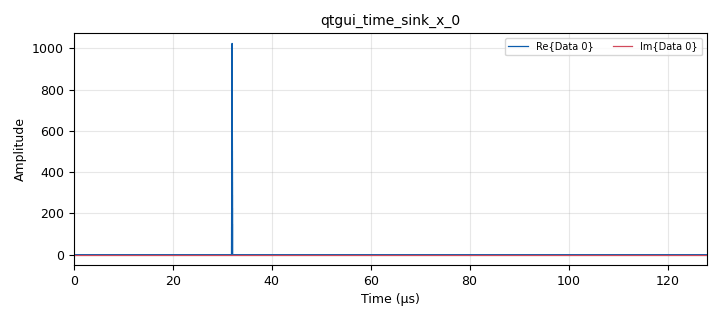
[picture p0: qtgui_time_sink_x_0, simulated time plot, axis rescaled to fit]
options:
  parameters:
    author: usacys
    generate_options: qt_gui
    id: osmo_source_to_zmq_GRCGEN
    output_language: python
    title: Not titled yet
  states: {}

blocks:
- name: samp_rate
  id: variable
  parameters:
    value: 8e6
  states: {}
- name: analog_sig_source_x_0
  id: analog_sig_source_x
  parameters:
    amp: '1'
    freq: '500000'
    offset: '0'
    phase: '0'
    samp_rate: samp_rate
    type: complex
    waveform: analog.GR_COS_WAVE
  states: {}
- name: blocks_stream_to_vector_0
  id: blocks_stream_to_vector
  parameters:
    num_items: '1024'
    type: complex
  states: {}
- name: blocks_throttle_0
  id: blocks_throttle
  parameters:
    samples_per_second: '32000'
    type: complex
  states: {}
- name: blocks_vector_to_stream_0
  id: blocks_vector_to_stream
  parameters:
    num_items: '1024'
    type: complex
  states: {}
- name: fft_vxx_0
  id: fft_vxx
  parameters:
    fft_size: '1024'
    forward: 'True'
    shift: 'True'
    type: complex
    window: window.rectangular(1024)
  states: {}
- name: osmosdr_source_0
  id: osmosdr_source
  parameters:
    bb_gain0: '32'
    freq0: 100e6
    gain0: '0'
    gain_mode0: 'False'
    if_gain0: '32'
    sample_rate: samp_rate
    sync: sync
    type: fc32
  states: {state: disabled}
- name: qtgui_time_sink_x_0
  id: qtgui_time_sink_x
  parameters:
    size: '1024'
    srate: samp_rate
    type: complex
  states: {}
- name: zeromq_push_sink_0
  id: zeromq_push_sink
  parameters:
    address: tcp://127.0.0.1:50252
    timeout: '100'
    type: complex
    vlen: '1024'
  states: {}

connections:
- [analog_sig_source_x_0, '0', blocks_throttle_0, '0']
- [blocks_stream_to_vector_0, '0', fft_vxx_0, '0']
- [blocks_throttle_0, '0', blocks_stream_to_vector_0, '0']
- [blocks_vector_to_stream_0, '0', qtgui_time_sink_x_0, '0']
- [fft_vxx_0, '0', blocks_vector_to_stream_0, '0']
- [fft_vxx_0, '0', zeromq_push_sink_0, '0']
- [osmosdr_source_0, '0', blocks_stream_to_vector_0, '0']

metadata:
  file_format: 1
